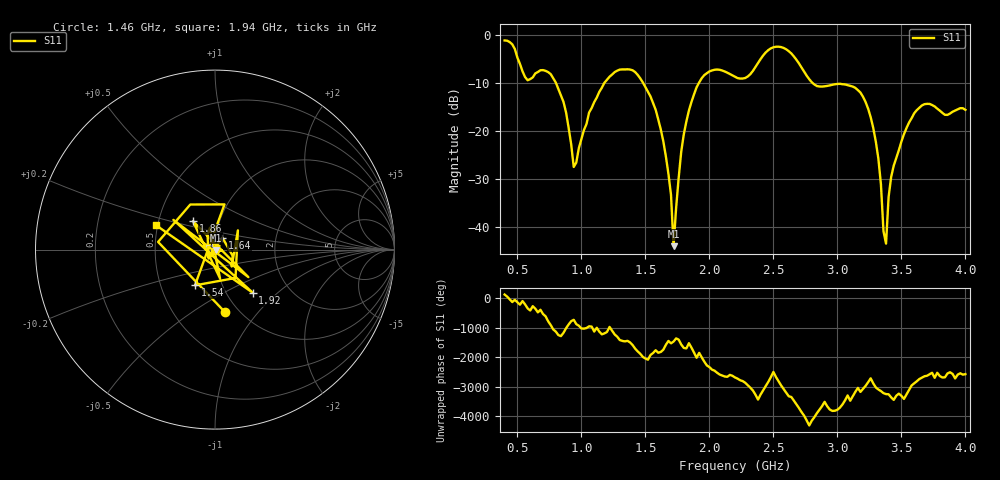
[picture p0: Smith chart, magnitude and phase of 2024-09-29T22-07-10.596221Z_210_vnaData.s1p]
!Created with skrf (http://scikit-rf.org).
# Hz S RI R 50.0
!freq ReS11 ImS11
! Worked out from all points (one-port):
!   181 points, 400 MHz to 4 GHz, reference 50 ohm
!   lowest |S11| = -43.9 dB at 1.72 GHz (marker M1), VSWR 1.01, Z = 50.6 - j0.275 ohm
!   |S11| at or under -10 dB: 801.1 MHz to 1.179 GHz (378.1 MHz wide, 38.2 % of centre); 1.482 GHz to 1.918 GHz (436 MHz wide, 25.6 % of centre); 2.806 GHz to end of sweep
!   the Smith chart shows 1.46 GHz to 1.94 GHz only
!   S11 on the Smith chart (normalised r, x): 1.46 GHz: 0.86, -0.69; 1.54 GHz: 0.74, -0.31; 1.64 GHz: 1.08, +0.14; 1.86 GHz: 0.75, +0.25; 1.92 GHz: 1.32, -0.71; 1.94 GHz: 0.49, +0.15
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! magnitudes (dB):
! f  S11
! 400 MHz  -1.2
! 580 MHz  -9.4
! 740 MHz  -7.7
! 860 MHz  -13.9
! 940 MHz  -27.5
! 1.06 GHz  -16.2
! 1.3 GHz  -7.2
! 1.46 GHz  -9.1
! 1.54 GHz  -12.8
! 1.64 GHz  -22.1
! 1.7 GHz  -33.3
! 1.72 GHz  -43.9
! 1.76 GHz  -29.7
! 1.86 GHz  -13.9
! 1.92 GHz  -9.9
! 1.94 GHz  -9.0
! 2.2 GHz  -8.7
! 2.5 GHz  -2.6
! 2.66 GHz  -4.5
! 2.84 GHz  -10.6
! 3.1 GHz  -10.6
! 3.28 GHz  -19.4
! 3.32 GHz  -25.7
! 3.36 GHz  -40.8
! 3.38 GHz  -43.4
! 3.42 GHz  -29.5
! 3.56 GHz  -18.2
! 4 GHz  -15.6
